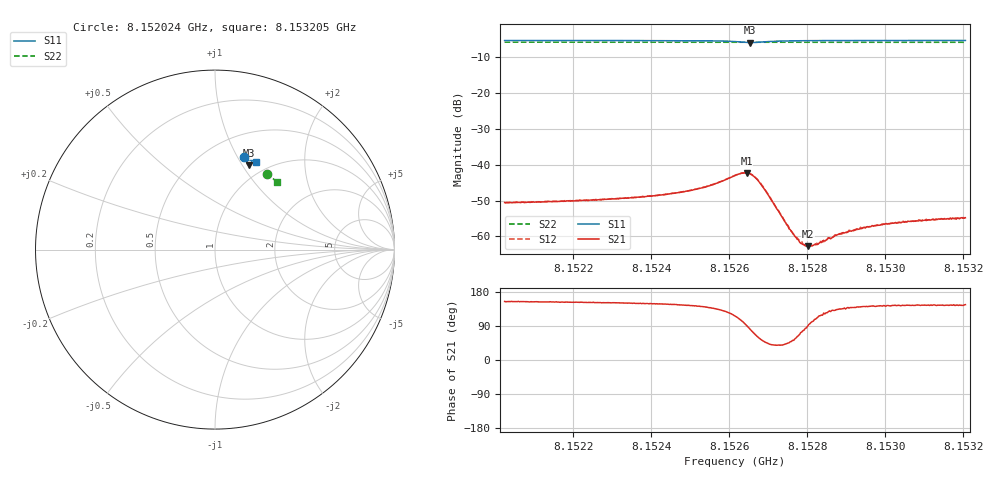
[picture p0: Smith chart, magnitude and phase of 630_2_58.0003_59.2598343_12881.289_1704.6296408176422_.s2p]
#  HZ  S  RI  R  50.00
! Rohde & Schwarz Vector Network Analyzer
! Rohde-Schwarz,ZNB20-2Port,1311601062101988,3.16
! Created: UTC 3/21/2024, 1:18:36 AM
! freq[Hz]  re:S11  im:S11  re:S21  im:S21  re:S12  im:S12  re:S22  im:S22
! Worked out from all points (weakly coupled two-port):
!   401 points, 8.152024 GHz to 8.153205 GHz, reference 50 ohm
!   highest |S21| = -42.25 dB at 8.152644 GHz (marker M1); lowest = -62.7 dB at 8.152801 GHz (marker M2)
!   lowest |S11| = -5.9 dB at 8.152653 GHz (marker M3), VSWR 3.06, Z = 42.2 + j53.5 ohm
!   |S11| at or under -10 dB: nowhere
!   |S22| runs from -5.9 to -5.8 dB; largest |S21 - S12| = 0.00017
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8.1520244e9  0.1589 0.5166  -0.00268 0.00128  -0.00266 0.00131  0.2875 0.4236
8.1522222e9  0.1732 0.5121  -0.00283 0.00147  -0.00279 0.00155  0.2978 0.4162
8.1524199e9  0.1886 0.506  -0.0032 0.00199  -0.00317 0.00206  0.3078 0.4084
8.1524937e9  0.1955 0.5024  -0.00349 0.00251  -0.00346 0.00258  0.3116 0.4054
8.1525351e9  0.1999 0.4989  -0.00372 0.00308  -0.00374 0.00318  0.3135 0.4035
8.1525793e9  0.2049 0.4919  -0.00389 0.00438  -0.00384 0.00443  0.3159 0.4016
8.1526148e9  0.2055 0.481  -0.00313 0.00634  -0.00312 0.00639  0.3174 0.3998
8.1526443e9  0.1945 0.4707  -0.000152 0.00772  -0.00011 0.00776  0.3181 0.3985
8.1526531e9  0.1886 0.4707  0.0011 0.0074  0.00115 0.00745  0.3183 0.3982
8.1526679e9  0.1804 0.4759  0.00266 0.00595  0.00276 0.00602  0.3187 0.3979
8.1526856e9  0.1773 0.485  0.00312 0.00387  0.00323 0.0039  0.3196 0.3977
8.1527623e9  0.1913 0.5003  0.000692 0.000878  0.000691 0.000874  0.3238 0.395
8.152786e9  0.1948 0.5006  0.000219 0.000762  0.000282 0.0008  0.3252 0.394
8.1528007e9  0.1969 0.5009  1.48e-05 0.000733  2.1e-05 0.000767  0.3261 0.3933
8.1528125e9  0.1984 0.5006  -0.000149 0.00073  -0.000154 0.000725  0.3267 0.3929
8.1528302e9  0.2005 0.5005  -0.000363 0.000723  -0.000331 0.000735  0.3275 0.3922
8.1528686e9  0.2044 0.4997  -0.000651 0.000758  -0.000674 0.000769  0.3294 0.3906
8.1528863e9  0.2063 0.4993  -0.000771 0.000791  -0.000752 0.000768  0.3302 0.3897
8.1529365e9  0.2105 0.4979  -0.00099 0.000827  -0.00104 0.000853  0.3328 0.3876
8.1530103e9  0.2163 0.4959  -0.00119 0.000901  -0.0012 0.000926  0.3363 0.3844
8.1530841e9  0.2218 0.494  -0.00134 0.000942  -0.00139 0.00099  0.3397 0.3814
8.1532051e9  0.2303 0.4905  -0.00151 0.00102  -0.0015 0.00105  0.3452 0.3759
